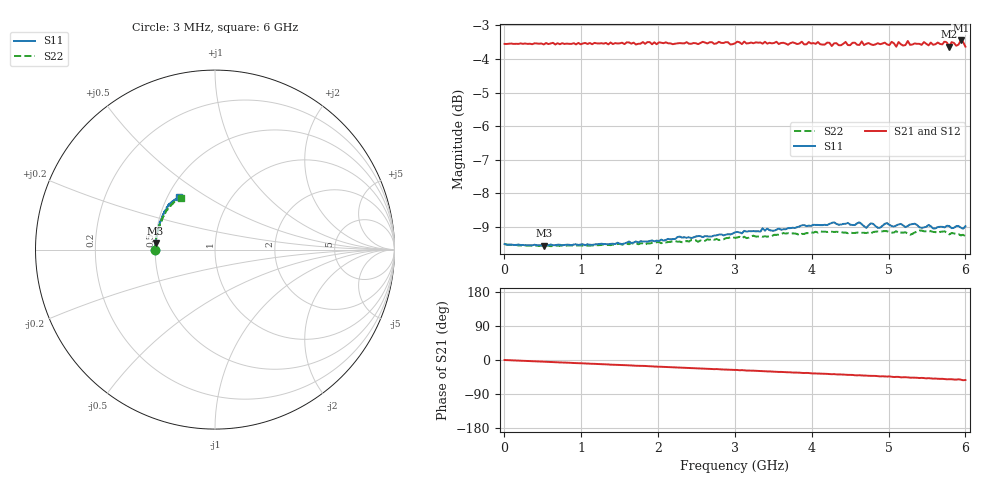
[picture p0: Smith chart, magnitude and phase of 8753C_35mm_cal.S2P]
! C:\dev\gpib\tools\s2p\kirkby\071815\8753C_35mm_cal.S2P
!  Min freq: 3.000000E+006 Hz
!  Max freq: 6.000000E+009 Hz
!  Points: 201
!  Params: S11 S21 S12 S22
# GHZ S MA R 50
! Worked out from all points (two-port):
!   201 points, 3 MHz to 6 GHz, reference 50 ohm
!   highest |S21| = -3.45 dB at 5.94 GHz (marker M1); lowest = -3.6 dB at 5.79 GHz (marker M2)
!   |S21| within 3 dB of the highest: start of sweep to end of sweep
!   lowest |S11| = -9.6 dB at 512.7 MHz (marker M3), VSWR 2.00, Z = 25.1 + j2.02 ohm
!   |S11| at or under -10 dB: nowhere
!   |S22| runs from -9.6 to -9.1 dB; largest |S21 - S12| = 0.013
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0.003  0.3348 179.9  0.6646 -0.0  0.6657 -0.1  0.3347 180.0
0.512745  0.333 173.8  0.6634 -4.4  0.6664 -4.5  0.3325 174.0
1.02249  0.3346 168.0  0.6656 -8.9  0.6647 -9.0  0.3329 168.1
2.011995  0.3383 156.8  0.6682 -17.6  0.6641 -17.5  0.3371 157.0
3.0015  0.3485 146.7  0.666 -26.2  0.6642 -26.1  0.342 147.1
4.02099  0.3576 138.1  0.6665 -35.3  0.6592 -35.0  0.348 138.2
5.010495  0.3575 131.9  0.662 -43.4  0.6637 -43.7  0.3487 131.1
5.070465  0.3555 131.2  0.6658 -44.9  0.6643 -44.7  0.3483 130.6
5.10045  0.3567 130.5  0.6582 -44.5  0.6618 -44.5  0.3499 130.6
5.130435  0.3581 130.7  0.6689 -44.6  0.661 -44.4  0.3473 130.4
5.16042  0.3587 130.9  0.6637 -45.7  0.6685 -44.9  0.3481 130.0
5.250375  0.3562 129.9  0.6713 -45.9  0.6655 -45.6  0.3466 129.2
5.28036  0.358 129.5  0.6624 -46.7  0.6686 -46.4  0.3457 128.6
5.52024  0.3574 128.1  0.6614 -47.9  0.6682 -48.5  0.3494 127.6
5.550225  0.3558 128.6  0.6676 -48.4  0.6576 -48.4  0.35 127.4
5.76012  0.3564 126.3  0.6674 -50.9  0.6631 -50.6  0.3476 125.7
5.790105  0.3561 126.4  0.6582 -50.7  0.6611 -50.7  0.346 125.7
5.850075  0.3539 125.7  0.6669 -51.5  0.6718 -51.4  0.3473 125.6
5.88006  0.356 125.3  0.6605 -51.7  0.6583 -51.7  0.3464 125.0
5.94003  0.3541 125.5  0.6725 -51.9  0.6734 -51.3  0.3448 124.5
5.970015  0.3527 124.9  0.6692 -53.4  0.6673 -52.8  0.3455 124.4
6  0.3559 124.4  0.6585 -52.9  0.6628 -52.4  0.3439 123.9
